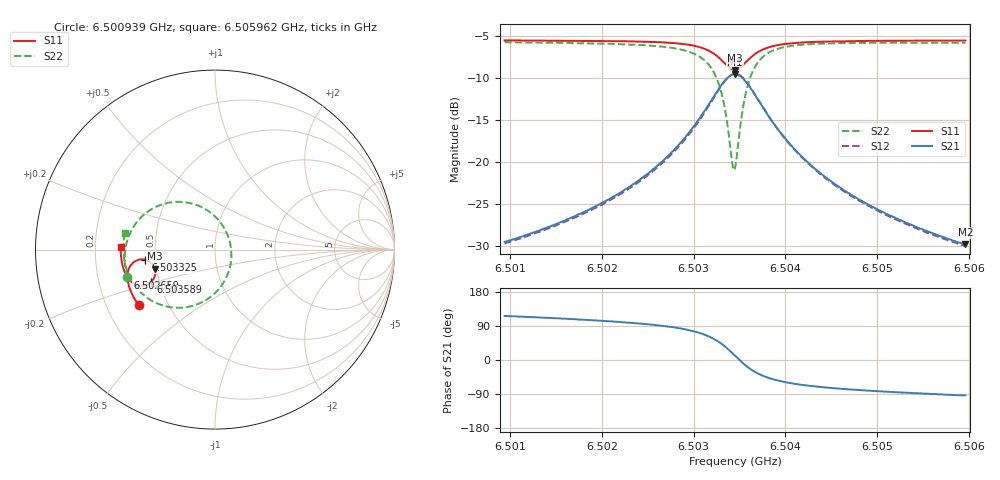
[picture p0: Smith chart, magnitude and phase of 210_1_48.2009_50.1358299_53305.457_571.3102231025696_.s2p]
#  HZ  S  RI  R  50.00
! Rohde & Schwarz Vector Network Analyzer
! Rohde-Schwarz,ZNB20-2Port,1311601062101988,3.16
! Created: UTC 3/20/2024, 11:45:29 AM
! freq[Hz]  re:S11  im:S11  re:S21  im:S21  re:S12  im:S12  re:S22  im:S22
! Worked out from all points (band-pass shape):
!   401 points, 6.500939 GHz to 6.505962 GHz, reference 50 ohm
!   highest |S21| = -9.58 dB at 6.50345 GHz (marker M1); lowest = -29.7 dB at 6.505962 GHz (marker M2)
!   |S21| within 3 dB of the highest: 6.503198 GHz to 6.5037 GHz (502.1 kHz wide, 0.00772 % of centre)
!   lowest |S11| = -9.1 dB at 6.50345 GHz (marker M3), VSWR 2.09, Z = 24.4 - j5.95 ohm
!   |S11| at or under -10 dB: nowhere
!   |S22| runs from -20.9 to -5.8 dB; largest |S21 - S12| = 0.012
!   S11 on the Smith chart (normalised r, x): 6.500939 GHz: 0.34, -0.29; 6.502659 GHz: 0.33, -0.14; 6.503325 GHz: 0.44, -0.06; 6.503589 GHz: 0.45, -0.19; 6.505962 GHz: 0.31, +0.01
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6.5009387e9  -0.426 -0.3094  -0.0149 0.0302  -0.0131 0.0302  -0.4896 -0.1551
6.5017801e9  -0.4621 -0.2474  -0.0142 0.0478  -0.0119 0.0475  -0.5031 -0.0657
6.5022323e9  -0.478 -0.2074  -0.0114 0.0667  -0.00842 0.0656  -0.5 -0.00181
6.5026216e9  -0.4873 -0.1645  -0.00224 0.0969  0.00148 0.0946  -0.48 0.0757
6.5026592e9  -0.4876 -0.1596  -0.00039 0.1012  0.00334 0.0987  -0.4762 0.0852
6.5029355e9  -0.4836 -0.1167  0.0266 0.1439  0.0304 0.1395  -0.4201 0.1713
6.5031239e9  -0.4619 -0.0783  0.0815 0.1862  0.0841 0.18  -0.3151 0.2443
6.5032369e9  -0.4287 -0.0579  0.1516 0.2036  0.1525 0.1972  -0.1889 0.2658
6.5033249e9  -0.3879 -0.0567  0.2318 0.1864  0.2323 0.1812  -0.0503 0.2234
6.5033625e9  -0.3684 -0.0647  0.2683 0.1625  0.2693 0.158  0.00994 0.1749
6.5034128e9  -0.346 -0.0852  0.3087 0.1126  0.3109 0.1077  0.0715 0.0781
6.5034379e9  -0.3383 -0.0993  0.3217 0.0813  0.3247 0.0758  0.0876 0.0191
6.5034504e9  -0.3356 -0.1069  0.3256 0.0645  0.3289 0.0587  0.0911 -0.0116
6.5035384e9  -0.3405 -0.1603  0.3093 -0.0476  0.3115 -0.058  0.0299 -0.2093
6.5035886e9  -0.3573 -0.1821  0.2752 -0.0928  0.2746 -0.1043  -0.0478 -0.2795
6.5037016e9  -0.4021 -0.201  0.1901 -0.1369  0.1847 -0.1463  -0.2197 -0.3238
6.5038649e9  -0.4482 -0.191  0.1082 -0.133  0.1012 -0.138  -0.3669 -0.2758
6.5040407e9  -0.4755 -0.1697  0.0637 -0.1128  0.0575 -0.1149  -0.4386 -0.2104
6.5042919e9  -0.4963 -0.1398  0.0339 -0.0881  0.029 -0.0887  -0.4819 -0.1379
6.5046435e9  -0.511 -0.1029  0.0157 -0.066  0.0124 -0.0656  -0.5036 -0.0672
6.5051333e9  -0.5211 -0.0576  0.00503 -0.0481  0.00275 -0.0475  -0.5105 0.00277
6.5059622e9  -0.5259 0.0127  -0.00203 -0.0325  -0.00344 -0.0316  -0.5025 0.0904
